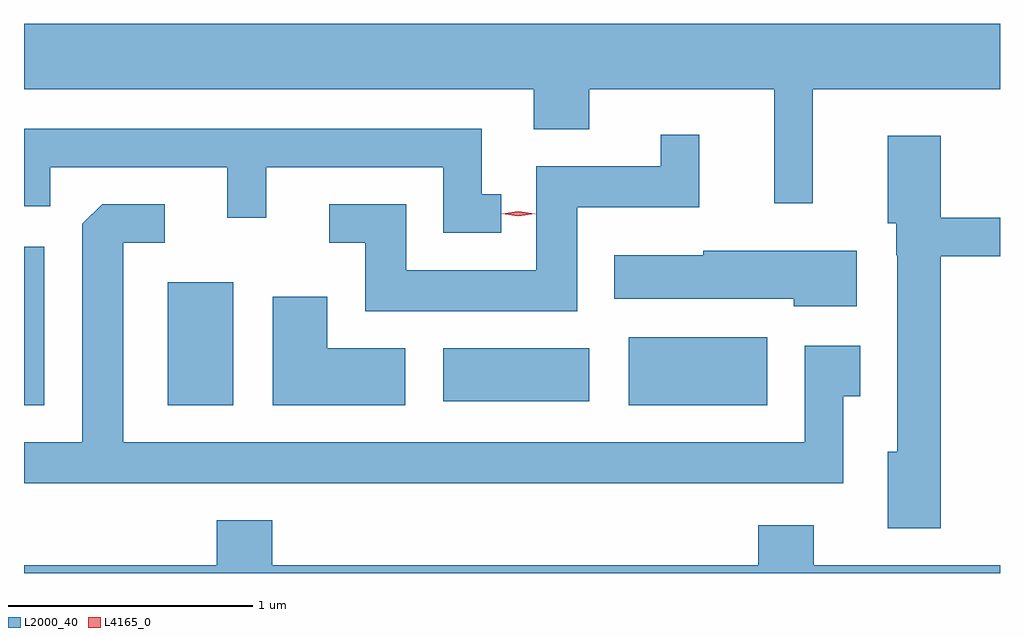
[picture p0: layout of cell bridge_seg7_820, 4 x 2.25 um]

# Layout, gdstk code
import gdstk
lib = gdstk.Library(unit=1e-6, precision=1e-09)
def R(c, l, rs):  # rectangles x0, y0, x1, y1
    for r in rs: c.add(gdstk.rectangle(r[:2], r[2:], *l))
def P(c, l, *ps):  # polygons
    for p in ps: c.add(gdstk.Polygon(p, *l))
L2000_40 = (2000, 40)
L4165_0 = (4165, 0)

bridge_seg7_820 = lib.new_cell('bridge_seg7_820')
R(bridge_seg7_820, L2000_40, [(405.622,1757.421,405.704,1758.069), (406.211,1757.421,406.479,1757.924), (408.101,1757.421,408.669,1757.699), (407.341,1757.436,407.939,1757.654)])
P(bridge_seg7_820, L2000_40, [(408.854,1758.716),(409.622,1758.716),(409.622,1758.984),(405.622,1758.984),(405.622,1758.716),(407.711,1758.716),(407.711,1758.551),(407.939,1758.551),(407.939,1758.716),(408.696,1758.716),(408.696,1758.248),(408.854,1758.248)],
  [(407.578,1758.284),(407.499,1758.284),(407.499,1758.554),(405.622,1758.554),(405.622,1758.236),(405.729,1758.236),(405.729,1758.396),(406.456,1758.396),(406.456,1758.188),(406.614,1758.188),(406.614,1758.396),(407.341,1758.396),(407.341,1758.126),(407.578,1758.126)],
  [(407.889,1758.231),(408.389,1758.231),(408.389,1758.528),(408.231,1758.528),(408.231,1758.399),(407.721,1758.399),(407.721,1757.974),(407.189,1757.974),(407.189,1758.244),(406.873,1758.244),(406.873,1758.086),(407.021,1758.086),(407.021,1757.806),(407.889,1757.806)],
  [(409.379,1758.031),(409.622,1758.031),(409.622,1758.189),(409.379,1758.189),(409.379,1758.524),(409.161,1758.524),(409.161,1758.166),(409.196,1758.166),(409.196,1758.035),(409.201,1758.035),(409.201,1757.229),(409.161,1757.229),(409.161,1756.916),(409.379,1756.916)],
  [(408.979,1757.456),(409.049,1757.456),(409.049,1757.664),(408.821,1757.664),(408.821,1757.269),(406.029,1757.269),(406.029,1758.086),(406.198,1758.086),(406.198,1758.244),(405.942,1758.244),(405.861,1758.164),(405.861,1757.269),(405.622,1757.269),(405.622,1757.101),(408.979,1757.101)],
  [(409.034,1758.054),(408.406,1758.054),(408.406,1758.034),(408.041,1758.034),(408.041,1757.856),(408.776,1757.856),(408.776,1757.826),(409.034,1757.826)],
  [(407.184,1757.654),(406.864,1757.654),(406.864,1757.864),(406.641,1757.864),(406.641,1757.421),(407.184,1757.421)],
  [(409.622,1756.764),(408.859,1756.764),(408.859,1756.929),(408.631,1756.929),(408.631,1756.764),(406.639,1756.764),(406.639,1756.949),(406.411,1756.949),(406.411,1756.764),(405.622,1756.764),(405.622,1756.731),(409.622,1756.731)])
P(bridge_seg7_820, L4165_0, [(407.648,1758.195),(407.579,1758.204),(407.579,1758.205),(407.579,1758.205),(407.648,1758.215),(407.718,1758.205),(407.718,1758.204),(407.718,1758.204)])

lib.write_gds('bridge_seg7_820.gds')
